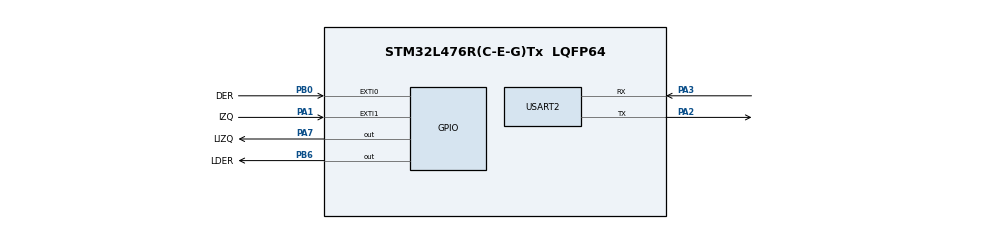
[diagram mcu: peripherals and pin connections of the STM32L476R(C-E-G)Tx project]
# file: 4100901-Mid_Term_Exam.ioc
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Mcu.Family=STM32L4
Mcu.Name=STM32L476R(C-E-G)Tx
Mcu.Package=LQFP64
NVIC.EXTI0_IRQn=true\:0\:0\:false\:false\:true\:true\:true\:true
NVIC.EXTI1_IRQn=true\:0\:0\:false\:false\:true\:true\:true\:true
NVIC.PriorityGroup=NVIC_PRIORITYGROUP_4
PA1.GPIO_Label=IZQ
PA1.Signal=GPXTI1
PA2.Mode=Asynchronous
PA2.Signal=USART2_TX
PA3.Mode=Asynchronous
PA3.Signal=USART2_RX
PA7.GPIO_Label=LIZQ
PA7.PinState=GPIO_PIN_SET
PA7.Signal=GPIO_Output
PB0.GPIO_Label=DER
PB0.Signal=GPXTI0
PB6.GPIO_Label=LDER
PB6.PinState=GPIO_PIN_SET
PB6.Signal=GPIO_Output
ProjectManager.HeapSize=0x200
ProjectManager.StackSize=0x400
ProjectManager.TargetToolchain=STM32CubeIDE
RCC.HSE_VALUE=8000000
RCC.HSI_VALUE=16000000
RCC.LSE_VALUE=32768
RCC.MSI_VALUE=4000000
RCC.VCOOutputFreq_Value=32000000
USART2.VirtualMode-Asynchronous=VM_ASYNC
board=custom

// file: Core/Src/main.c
/* USER CODE BEGIN Header */
/**
  ******************************************************************************
  * @file           : main.c
  * @brief          : Main program body
  ******************************************************************************
  * @attention
  *
  * Copyright (c) 2024 STMicroelectronics.
  * All rights reserved.
  *
  * This software is licensed under terms that can be found in the LICENSE file
  * in the root directory of this software component.
  * If no LICENSE file comes with this software, it is provided AS-IS.
  *
  ******************************************************************************
  */
/* USER CODE END Header */
#include "main.h"

UART_HandleTypeDef huart2;

/* USER CODE BEGIN PV */
uint8_t left_pressed = 0;
uint8_t right_pressed = 0;
uint8_t left_continous = 0;
uint8_t right_continous = 0;
uint32_t static time = 0;
/* USER CODE END PV */

void SystemClock_Config(void);
static void MX_GPIO_Init(void);
static void MX_USART2_UART_Init(void);

/* USER CODE BEGIN 0 */
void HAL_GPIO_EXTI_Callback(uint16_t GPIO_Pin){
	if(GPIO_Pin==IZQ_Pin){
		left_pressed = 1;
	}
	if(GPIO_Pin==DER_Pin){
		right_pressed = 1;
	}
}

void heartbeat(void){
	static uint32_t tick=0;
	if(HAL_GetTick()-tick>=500){
//		tick = HAL_GetTick();
		while(right_pressed != 0){
			HAL_GPIO_TogglePin(LIZQ_GPIO_Port, LIZQ_Pin);
		}
	}
}
//hola
/* USER CODE END 0 */

int main(void)
{

  /* MCU Configuration--------------------------------------------------------*/

  /* Reset of all peripherals, Initializes the Flash interface and the Systick. */
  HAL_Init();

  /* Configure the system clock */
  SystemClock_Config();

  /* Initialize all configured peripherals */
  MX_GPIO_Init();
  MX_USART2_UART_Init();

  /* Infinite loop */
  /* USER CODE BEGIN WHILE */
  while (1)
  {
	  heartbeat();
	  if(left_pressed != 0){
		  HAL_UART_Transmit(&huart2,"Left signal\r\n",13,10);
		  for(uint8_t i = 0; i<6; i++){
			  if(right_pressed == 0){
				  HAL_GPIO_TogglePin(LIZQ_GPIO_Port, LIZQ_Pin);
				  HAL_Delay(500);
			  }
		  }
		  HAL_GPIO_WritePin(LIZQ_GPIO_Port, LIZQ_Pin, 1);
		  left_pressed = 0;
	  }

	  if(right_pressed != 0){
		  HAL_UART_Transmit(&huart2,"Right Signal\r\n",14,10);
		  for(uint8_t i = 0; i<6; i++){
			  if(left_pressed == 0){
				  HAL_GPIO_TogglePin(LDER_GPIO_Port, LDER_Pin);
				  HAL_Delay(500);
			  }
		  }
		  HAL_GPIO_WritePin(LDER_GPIO_Port, LDER_Pin, 1);
		  right_pressed = 0;
	  }
    /* USER CODE END WHILE */

  }
}

void SystemClock_Config(void)
{
  RCC_OscInitTypeDef RCC_OscInitStruct = {0};
  RCC_ClkInitTypeDef RCC_ClkInitStruct = {0};

  /** Configure the main internal regulator output voltage
  */
  if (HAL_PWREx_ControlVoltageScaling(PWR_REGULATOR_VOLTAGE_SCALE1) != HAL_OK)
  {
    Error_Handler();
  }

  /** Initializes the RCC Oscillators according to the specified parameters
  * in the RCC_OscInitTypeDef structure.
  */
  RCC_OscInitStruct.OscillatorType = RCC_OSCILLATORTYPE_MSI;
  RCC_OscInitStruct.MSIState = RCC_MSI_ON;
  RCC_OscInitStruct.MSICalibrationValue = 0;
  RCC_OscInitStruct.MSIClockRange = RCC_MSIRANGE_6;
  RCC_OscInitStruct.PLL.PLLState = RCC_PLL_NONE;
  if (HAL_RCC_OscConfig(&RCC_OscInitStruct) != HAL_OK)
  {
    Error_Handler();
  }

  /** Initializes the CPU, AHB and APB buses clocks
  */
  RCC_ClkInitStruct.ClockType = RCC_CLOCKTYPE_HCLK|RCC_CLOCKTYPE_SYSCLK
                              |RCC_CLOCKTYPE_PCLK1|RCC_CLOCKTYPE_PCLK2;
  RCC_ClkInitStruct.SYSCLKSource = RCC_SYSCLKSOURCE_MSI;
  RCC_ClkInitStruct.AHBCLKDivider = RCC_SYSCLK_DIV1;
  RCC_ClkInitStruct.APB1CLKDivider = RCC_HCLK_DIV1;
  RCC_ClkInitStruct.APB2CLKDivider = RCC_HCLK_DIV1;

  if (HAL_RCC_ClockConfig(&RCC_ClkInitStruct, FLASH_LATENCY_0) != HAL_OK)
  {
    Error_Handler();
  }
}

static void MX_USART2_UART_Init(void)
{

  huart2.Instance = USART2;
  huart2.Init.BaudRate = 115200;
  huart2.Init.WordLength = UART_WORDLENGTH_8B;
  huart2.Init.StopBits = UART_STOPBITS_1;
  huart2.Init.Parity = UART_PARITY_NONE;
  huart2.Init.Mode = UART_MODE_TX_RX;
  huart2.Init.HwFlowCtl = UART_HWCONTROL_NONE;
  huart2.Init.OverSampling = UART_OVERSAMPLING_16;
  huart2.Init.OneBitSampling = UART_ONE_BIT_SAMPLE_DISABLE;
  huart2.AdvancedInit.AdvFeatureInit = UART_ADVFEATURE_NO_INIT;
  if (HAL_UART_Init(&huart2) != HAL_OK)
  {
    Error_Handler();
  }

}

static void MX_GPIO_Init(void)
{
  GPIO_InitTypeDef GPIO_InitStruct = {0};

  /* GPIO Ports Clock Enable */
  __HAL_RCC_GPIOA_CLK_ENABLE();
  __HAL_RCC_GPIOB_CLK_ENABLE();

  /*Configure GPIO pin Output Level */
  HAL_GPIO_WritePin(LIZQ_GPIO_Port, LIZQ_Pin, GPIO_PIN_SET);

  /*Configure GPIO pin Output Level */
  HAL_GPIO_WritePin(LDER_GPIO_Port, LDER_Pin, GPIO_PIN_SET);

  /*Configure GPIO pin : IZQ_Pin */
  GPIO_InitStruct.Pin = IZQ_Pin;
  GPIO_InitStruct.Mode = GPIO_MODE_IT_RISING;
  GPIO_InitStruct.Pull = GPIO_NOPULL;
  HAL_GPIO_Init(IZQ_GPIO_Port, &GPIO_InitStruct);

  /*Configure GPIO pin : LIZQ_Pin */
  GPIO_InitStruct.Pin = LIZQ_Pin;
  GPIO_InitStruct.Mode = GPIO_MODE_OUTPUT_PP;
  GPIO_InitStruct.Pull = GPIO_NOPULL;
  GPIO_InitStruct.Speed = GPIO_SPEED_FREQ_LOW;
  HAL_GPIO_Init(LIZQ_GPIO_Port, &GPIO_InitStruct);

  /*Configure GPIO pin : DER_Pin */
  GPIO_InitStruct.Pin = DER_Pin;
  GPIO_InitStruct.Mode = GPIO_MODE_IT_RISING;
  GPIO_InitStruct.Pull = GPIO_NOPULL;
  HAL_GPIO_Init(DER_GPIO_Port, &GPIO_InitStruct);

  /*Configure GPIO pin : LDER_Pin */
  GPIO_InitStruct.Pin = LDER_Pin;
  GPIO_InitStruct.Mode = GPIO_MODE_OUTPUT_PP;
  GPIO_InitStruct.Pull = GPIO_NOPULL;
  GPIO_InitStruct.Speed = GPIO_SPEED_FREQ_LOW;
  HAL_GPIO_Init(LDER_GPIO_Port, &GPIO_InitStruct);

  /* EXTI interrupt init*/
  HAL_NVIC_SetPriority(EXTI0_IRQn, 0, 0);
  HAL_NVIC_EnableIRQ(EXTI0_IRQn);

  HAL_NVIC_SetPriority(EXTI1_IRQn, 0, 0);
  HAL_NVIC_EnableIRQ(EXTI1_IRQn);

}

void Error_Handler(void)
{
  __disable_irq();
  while (1)
  {
  }
}
